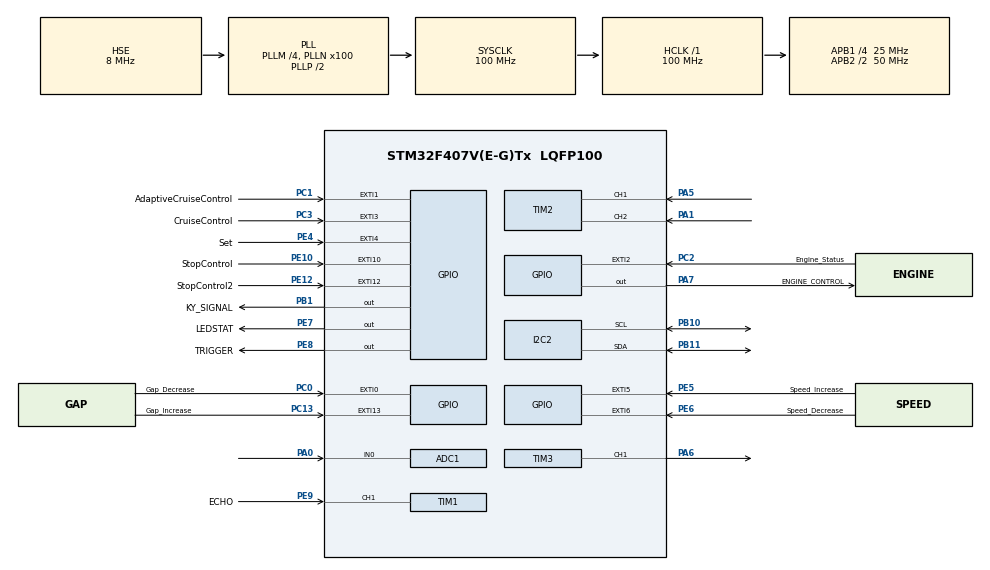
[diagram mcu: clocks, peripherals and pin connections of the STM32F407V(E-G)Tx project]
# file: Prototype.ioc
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ADC1.Channel-2\#ChannelRegularConversion=ADC_CHANNEL_0
ADC1.ContinuousConvMode=ENABLE
ADC1.DMAContinuousRequests=ENABLE
ADC1.NbrOfConversionFlag=1
ADC1.Rank-2\#ChannelRegularConversion=1
ADC1.SamplingTime-2\#ChannelRegularConversion=ADC_SAMPLETIME_480CYCLES
ADC1.ScanConvMode=DISABLE
ADC1.master=1
Dma.ADC1.0.Direction=DMA_PERIPH_TO_MEMORY
Dma.ADC1.0.FIFOMode=DMA_FIFOMODE_DISABLE
Dma.ADC1.0.Instance=DMA2_Stream0
Dma.ADC1.0.MemDataAlignment=DMA_MDATAALIGN_HALFWORD
Dma.ADC1.0.MemInc=DMA_MINC_ENABLE
Dma.ADC1.0.Mode=DMA_CIRCULAR
Dma.ADC1.0.PeriphDataAlignment=DMA_PDATAALIGN_HALFWORD
Dma.ADC1.0.PeriphInc=DMA_PINC_DISABLE
Dma.ADC1.0.Priority=DMA_PRIORITY_LOW
Dma.Request0=ADC1
Mcu.Family=STM32F4
Mcu.Name=STM32F407V(E-G)Tx
Mcu.Package=LQFP100
NVIC.DMA2_Stream0_IRQn=true\:0\:0\:false\:false\:true\:false\:true\:true
NVIC.EXTI0_IRQn=true\:1\:0\:true\:false\:true\:true\:true\:true
NVIC.EXTI15_10_IRQn=true\:1\:0\:true\:false\:true\:true\:true\:true
NVIC.EXTI1_IRQn=true\:1\:0\:true\:false\:true\:true\:true\:true
NVIC.EXTI2_IRQn=true\:1\:0\:true\:false\:true\:true\:true\:true
NVIC.EXTI3_IRQn=true\:1\:0\:true\:false\:true\:true\:true\:true
NVIC.EXTI4_IRQn=true\:1\:0\:true\:false\:true\:true\:true\:true
NVIC.EXTI9_5_IRQn=true\:1\:0\:true\:false\:true\:true\:true\:true
NVIC.PriorityGroup=NVIC_PRIORITYGROUP_4
NVIC.TIM1_CC_IRQn=true\:0\:0\:false\:false\:true\:true\:true\:true
NVIC.TIM4_IRQn=true\:0\:0\:true\:false\:true\:true\:true\:true
NVIC.TIM5_IRQn=true\:0\:0\:true\:false\:true\:true\:true\:true
NVIC.TIM6_DAC_IRQn=true\:2\:0\:true\:false\:true\:true\:true\:true
PA0-WKUP.Signal=ADCx_IN0
PA1.Signal=S_TIM2_CH2
PA13.Mode=Serial_Wire
PA13.Signal=SYS_JTMS-SWDIO
PA14.Mode=Serial_Wire
PA14.Signal=SYS_JTCK-SWCLK
PA5.Signal=S_TIM2_CH1_ETR
PA6.Signal=S_TIM3_CH1
PA7.GPIO_Label=ENGINE_CONTROL
PA7.GPIO_PuPd=GPIO_PULLDOWN
PA7.Signal=GPIO_Output
PB1.GPIO_Label=KY_SIGNAL
PB1.GPIO_PuPd=GPIO_PULLDOWN
PB1.Signal=GPIO_Output
PB10.GPIO_Pu=GPIO_PULLUP
PB10.Mode=I2C
PB10.Signal=I2C2_SCL
PB11.GPIO_Pu=GPIO_PULLUP
PB11.Mode=I2C
PB11.Signal=I2C2_SDA
PC0.GPIO_Label=Gap_Decrease
PC0.GPIO_ModeDefaultEXTI=GPIO_MODE_IT_FALLING
PC0.GPIO_PuPd=GPIO_PULLUP
PC0.Signal=GPXTI0
PC1.GPIO_Label=AdaptiveCruiseControl
PC1.GPIO_ModeDefaultEXTI=GPIO_MODE_IT_FALLING
PC1.GPIO_PuPd=GPIO_PULLUP
PC1.Signal=GPXTI1
PC13-ANTI_TAMP.GPIO_Label=Gap_Increase
PC13-ANTI_TAMP.GPIO_ModeDefaultEXTI=GPIO_MODE_IT_FALLING
PC13-ANTI_TAMP.GPIO_PuPd=GPIO_PULLUP
PC13-ANTI_TAMP.Signal=GPXTI13
PC2.GPIO_Label=Engine_Status
PC2.GPIO_ModeDefaultEXTI=GPIO_MODE_IT_FALLING
PC2.GPIO_PuPd=GPIO_PULLUP
PC2.Signal=GPXTI2
PC3.GPIO_Label=CruiseControl
PC3.GPIO_ModeDefaultEXTI=GPIO_MODE_IT_FALLING
PC3.GPIO_PuPd=GPIO_PULLUP
PC3.Signal=GPXTI3
PE10.GPIO_Label=StopControl
PE10.GPIO_ModeDefaultEXTI=GPIO_MODE_IT_FALLING
PE10.GPIO_PuPd=GPIO_PULLUP
PE10.Signal=GPXTI10
PE12.GPIO_Label=StopControl2
PE12.GPIO_ModeDefaultEXTI=GPIO_MODE_IT_FALLING
PE12.GPIO_PuPd=GPIO_PULLUP
PE12.Signal=GPXTI12
PE4.GPIO_Label=Set
PE4.GPIO_ModeDefaultEXTI=GPIO_MODE_IT_FALLING
PE4.GPIO_PuPd=GPIO_PULLUP
PE4.Signal=GPXTI4
PE5.GPIO_Label=Speed_Increase
PE5.GPIO_ModeDefaultEXTI=GPIO_MODE_IT_FALLING
PE5.GPIO_PuPd=GPIO_PULLUP
PE5.Signal=GPXTI5
PE6.GPIO_Label=Speed_Decrease
PE6.GPIO_ModeDefaultEXTI=GPIO_MODE_IT_FALLING
PE6.GPIO_PuPd=GPIO_PULLUP
PE6.Signal=GPXTI6
PE7.GPIO_Label=LEDSTAT
PE7.GPIO_PuPd=GPIO_PULLUP
PE7.Signal=GPIO_Output
PE8.GPIO_Label=TRIGGER
PE8.Signal=GPIO_Output
PE9.GPIO_Label=ECHO
PE9.Signal=S_TIM1_CH1
PH0-OSC_IN.Mode=HSE-External-Oscillator
PH0-OSC_IN.Signal=RCC_OSC_IN
PH1-OSC_OUT.Mode=HSE-External-Oscillator
PH1-OSC_OUT.Signal=RCC_OSC_OUT
ProjectManager.HeapSize=0x200
ProjectManager.StackSize=0x400
ProjectManager.TargetToolchain=STM32CubeIDE
RCC.48MHZClocksFreq_Value=50000000
RCC.AHBFreq_Value=100000000
RCC.APB1CLKDivider=RCC_HCLK_DIV4
RCC.APB1Freq_Value=25000000
RCC.APB1TimFreq_Value=50000000
RCC.APB2CLKDivider=RCC_HCLK_DIV2
RCC.APB2Freq_Value=50000000
RCC.APB2TimFreq_Value=100000000
RCC.CortexFreq_Value=100000000
RCC.HCLKFreq_Value=100000000
RCC.HSE_VALUE=8000000
RCC.HSI_VALUE=16000000
RCC.LSE_VALUE=32768
RCC.PLLM=4
RCC.PLLN=100
RCC.PLLSourceVirtual=RCC_PLLSOURCE_HSE
RCC.SYSCLKFreq_VALUE=100000000
RCC.SYSCLKSource=RCC_SYSCLKSOURCE_PLLCLK
RCC.VCOOutputFreq_Value=200000000
SH.ADCx_IN0.0=ADC1_IN0,IN0
SH.S_TIM1_CH1.0=TIM1_CH1,Input_Capture1_from_TI1
SH.S_TIM2_CH1_ETR.0=TIM2_CH1,Encoder_Interface
SH.S_TIM2_CH2.0=TIM2_CH2,Encoder_Interface
SH.S_TIM3_CH1.0=TIM3_CH1,PWM Generation1 CH1
TIM1.Channel-Input_Capture1_from_TI1=TIM_CHANNEL_1
TIM1.Period=65535-1
TIM1.Prescaler=100-1
TIM2.EncoderMode=TIM_ENCODERMODE_TI12
TIM3.Channel-PWM\ Generation1\ CH1=TIM_CHANNEL_1
TIM3.Period=1000-1
TIM4.Period=120-1
TIM4.Prescaler=50000-1
TIM5.Period=100-1
TIM5.Prescaler=50000-1
TIM6.Period=450-1
TIM6.Prescaler=50000-1
VP_TIM1_VS_ClockSourceINT.Mode=Internal
VP_TIM3_VS_ClockSourceINT.Mode=Internal
VP_TIM4_VS_ClockSourceINT.Mode=Internal
VP_TIM5_VS_ClockSourceINT.Mode=Internal
VP_TIM6_VS_ClockSourceINT.Mode=Enable_Timer
board=custom

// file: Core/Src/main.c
/* USER CODE BEGIN Header */
/**
  ******************************************************************************
  * @file           : main.c
  * @brief          : Main program body
  ******************************************************************************
  * @attention
  *
  * Copyright (c) 2023 STMicroelectronics.
  * All rights reserved.
  *
  * This software is licensed under terms that can be found in the LICENSE file
  * in the root directory of this software component.
  * If no LICENSE file comes with this software, it is provided AS-IS.
  *
  ******************************************************************************
  */
//PC13		Gap_Increase
//PC0		Gap_Decrease
//PE2		Engine_Status x
//PE3		Mode x
//PE4		Set
//PE5		Speed_Increase
//PE6		Speed_Decrease
//TIM1 SR04  PE9 Echo
//			 PE8 TRIG
//TIM2 ENCODER
//
//TIM3 PWM PA6
//		   PA7
//TIM4 0.12S INTERUPT
//TIM5 0.1S  INTERUPT
//ADC1 IN0 	 PA0
//I2C2 SCL
//	   SDA
//PB0 KY012
/* USER CODE END Header */
#include "main.h"

/* USER CODE BEGIN Includes */
#include "i2c-lcd.h"
#include "string.h"
#include "stdlib.h"
#include "stdio.h"
#include "math.h"
#include "HC_SR04.h"
#include "stdbool.h"
/* USER CODE END Includes */

/* USER CODE BEGIN PTD */
typedef struct {
	uint16_t Dset;
	uint16_t Vset;
	bool firstSet;
}controlValue;
/* USER CODE END PTD */

/* USER CODE BEGIN PD */
#define speedSetMax 250
#define speedSetMin 50
#define distanceSetMax 30
#define distanceSetMin 10
#define speedStep 10
#define distanceStep 5
#define DEBOUNCE_DELAY 1000
#define Kp 4.0
#define Ki 0.00011
#define Kd 1.55
#define max_crr_value  999
#define wheelPerimeter 20.420335
/* USER CODE END PD */

/* USER CODE BEGIN PM */
enum Cmnd
{
	UserControl =1 ,
	CruiseControl,
	AdaptiveCruiseControl
};
enum Cmnd ucmd = UserControl;
controlValue control = {10, 50, false};
const uint8_t ESTOP_DISTANCE = 5, SENSING_ZONE =50 , DECREASE_ZONE =5;
/* USER CODE END PM */

ADC_HandleTypeDef hadc1;
DMA_HandleTypeDef hdma_adc1;

I2C_HandleTypeDef hi2c2;

TIM_HandleTypeDef htim1;
TIM_HandleTypeDef htim2;
TIM_HandleTypeDef htim3;
TIM_HandleTypeDef htim4;
TIM_HandleTypeDef htim5;
TIM_HandleTypeDef htim6;

/* USER CODE BEGIN PV */
// BIẾN TOÀN CỤC C�? �?ỊNH.
uint32_t last_debounce_time = 0,value=0;
uint16_t engineStat = 0, speedSet=50,distanceSet=10,gas_val = 0;
uint16_t RPM,RTDistance,crr_value;
int16_t deltaRPM;
float  pid_value = 0;

// TẠM THỜI
int a, b=0,c;
/* USER CODE END PV */

void SystemClock_Config(void);
static void MX_GPIO_Init(void);
static void MX_DMA_Init(void);
static void MX_ADC1_Init(void);
static void MX_I2C2_Init(void);
static void MX_TIM1_Init(void);
static void MX_TIM2_Init(void);
static void MX_TIM3_Init(void);
static void MX_TIM4_Init(void);
static void MX_TIM5_Init(void);
static void MX_TIM6_Init(void);
/* USER CODE BEGIN PFP */
void debounceButton(GPIO_TypeDef* GPIOx,uint16_t GPIO_Pin, uint32_t *last_debounce_time);
void LCD_StartingScreen();
void display();
uint32_t convert_pid_to_crr(float pid_value);
float calculate_pid(float setpoint, float actual_value);
void cruiseControl( controlValue *control,uint16_t RPM );
void adaptiveCruiseControl(uint16_t RPM, uint16_t deltaRPM, uint16_t RTDistance, controlValue *control);
void userControl(uint8_t gas_val,uint16_t RPM);
/* USER CODE END PFP */

/* USER CODE BEGIN 0 */
uint32_t MAP(uint32_t au32_IN, uint32_t au32_INmin, uint32_t au32_INmax, uint32_t au32_OUTmin, uint32_t au32_OUTmax)
{
	return ((((au32_IN - au32_INmin)*(au32_OUTmax - au32_OUTmin))/(au32_INmax - au32_INmin)) + au32_OUTmin);
}

void HAL_ADC_ConvCpltCallback(ADC_HandleTypeDef* hadc)
{
	gas_val = MAP(value, 0, 4095, 0, 100); //gas_val = MAP(value, 1010, 3191, 0, 100);
}

uint32_t convert_pid_to_crr(float pid_value)
{

    float max_pid_value = 1500.0;
    // Chuyển đổi giá trị PID thành giá trị CRR bằng cách sử dụng tỷ lệ tương ứng
    crr_value = (uint32_t)( fabs(pid_value / max_pid_value * max_crr_value));

    // Giới hạn giá trị CRR trong phạm vi cho phép
    if (crr_value > max_crr_value) {
      return  crr_value = max_crr_value;
    } else if (crr_value < 0) {
        return crr_value = 0;
    }else   return crr_value;

}

float calculate_pid(float setpoint, float actual_value)
{
  static float current_error = 0, previous_error = 0;

  static float integral = 0, derivative = 0;
  // Tính lỗi hiện tại
  current_error = setpoint - actual_value;

  // Tính phần tích phân của lỗi
  integral += current_error;

  // Tính phần đạo hàm của lỗi
  derivative = current_error - previous_error;

  // Tính giá trị đi�?u khiển PID
  pid_value = Kp * current_error + Ki * integral + Kd * derivative;

  // Cập nhật lỗi trước đó
  previous_error = current_error;

  return pid_value;
}

void cruiseControl(controlValue *control,uint16_t RPM)
{
	if (control->firstSet == false)
	{
		control->Vset=RPM;
		speedSet = RPM;
		control->firstSet = true;
	}
	__HAL_TIM_SET_COMPARE(&htim3, TIM_CHANNEL_1, convert_pid_to_crr(calculate_pid(control->Vset,RPM)));
}

void adaptiveCruiseControl(uint16_t RPM, uint16_t deltaRPM, uint16_t RTDistance, controlValue *control)
{
	uint16_t v_Object;
	if (control->firstSet == false)
	{
		control->Vset=RPM;
		speedSet = RPM;
		control->firstSet = true;
	}
	if (RTDistance <= SENSING_ZONE)// step into the calculate zone
	{
        // Turn on calculate object speed
		HAL_TIM_Base_Start_IT(&htim4);
		if ( deltaRPM < 0 && fabs(deltaRPM) > RPM)
		{
			v_Object = 0;
		}else{
			v_Object = RPM + deltaRPM;
		}

		if (RTDistance >= ESTOP_DISTANCE + control->Dset + DECREASE_ZONE)               // run like CCS
		{
			__HAL_TIM_SET_COMPARE(&htim3, TIM_CHANNEL_1, convert_pid_to_crr(calculate_pid(control->Vset,RPM)));
		}
		else if (RTDistance <= ESTOP_DISTANCE) //  E-stop if to close
		{
			__HAL_TIM_SET_COMPARE(&htim3, TIM_CHANNEL_1,0);
			__HAL_TIM_SET_COMPARE(&htim3, TIM_CHANNEL_2,0);
			 ucmd = UserControl;
		}
		else if (RTDistance < ESTOP_DISTANCE + control->Dset + DECREASE_ZONE && RTDistance > ESTOP_DISTANCE ) //
		{ // sync speed with object
			__HAL_TIM_SET_COMPARE(&htim3, TIM_CHANNEL_1, convert_pid_to_crr(calculate_pid(v_Object,RPM)));

		}
	}
	else
	{
		HAL_TIM_Base_Stop_IT(&htim4);       // turn of calculate speed run like CCS
		__HAL_TIM_SET_COMPARE(&htim3, TIM_CHANNEL_1, convert_pid_to_crr(calculate_pid(control->Vset,RPM)));
	}
}

void debounceButton(GPIO_TypeDef* GPIOx,uint16_t GPIO_Pin, uint32_t *last_debounce_time)
{
	uint32_t current_time = HAL_GetTick();
	if (current_time - *last_debounce_time > DEBOUNCE_DELAY)
	{
		*last_debounce_time = current_time;
		while (HAL_GPIO_ReadPin(GPIOx, GPIO_Pin) == 0)
		{
			if ( HAL_GetTick()- *last_debounce_time >= DEBOUNCE_DELAY)
			{
				break;
			}
		}
	}
}

void LCD_StartingScreen()
{

	char welcome_str[] = "Welcome"; //7
	char system_str[] = "System turning on"; //17
	char loading_str[] = "Loading"; //7
	lcd_put_cur(0, 6);
	for (int i = 0; i < 7; i++)
	{
		lcd_send_data(welcome_str[i]);
		HAL_Delay(100);
	}
	HAL_Delay(1000);
	lcd_put_cur(1, 1);
	for (int i = 0; i < 17; i++)
	{
		lcd_send_data(system_str[i]);
		HAL_Delay(100);
	}
	HAL_Delay(500);
	for (int i = 0; i < 2; i++)
	{
		lcd_clear();
		for (int j = 1; j <= 3; j++)
		{
			lcd_put_cur(1, 4);
			if (i == 0)
			{
				for (int k = 0; k < 7; k++)
				{
                lcd_send_data(loading_str[k]);
                HAL_Delay(90);
				}
			}
			else
			{
				lcd_send_string("Loading");
			}
			for (int k = 0; k < j; k++)
			{
				lcd_send_data('.');
				HAL_Delay(70);
			}
			HAL_Delay(400);
		}
	}
	lcd_clear();
}

void display()
{
		char Buffer[4][20];
		if (ucmd == CruiseControl)
		{
			sprintf(Buffer[0],"%s%s%s","Mode :","CC   |EN:",(engineStat>0)?"ON":"OFF");
		}
		else if (ucmd == AdaptiveCruiseControl)
		{
			sprintf(Buffer[0],"%s%s%s","Mode :","ACC  |EN:",(engineStat>0)?"ON":"OFF");
		}
		else
		{
			sprintf(Buffer[0],"%s%s%s","Mode :","UC   |EN:",(engineStat>0)?"ON":"OFF");
		}
		sprintf(Buffer[1],"%s%d%s","Speed:",RPM," RPM");
		sprintf(Buffer[2],"%s%d%s%d","Vset :",speedSet," |Dis:", RTDistance);
		sprintf(Buffer[3],"%s%d%s","Dset :",distanceSet, "cm");
		lcd_clear();
		for(int i = 0 ; i < 4; i ++)
		{
			lcd_put_cur(i,0);
			lcd_send_string(Buffer[i]);
		}

}

void userControl(uint8_t gas_val,uint16_t RPM)
{
	uint16_t ccr_val;// xong b�? dòng này vào h
	ccr_val = (gas_val * 999) / 100;
	TIM3 ->CCR1 = ccr_val;
	if (RPM> 50)
		HAL_GPIO_WritePin(GPIOE, LEDSTAT_Pin,0);
    else
    	HAL_GPIO_WritePin(GPIOE, LEDSTAT_Pin,1);

}

void Cmd_Handle(void)
{
	switch (ucmd) {
		case 1:
			userControl(gas_val,RPM);
			break;
		case 2:
//      if (RPM> 50)
//      {
			cruiseControl(&control,RPM);
//      }else
//      {
//        ucmd = UserControl;
//      }
			break;
		case 3:
//          if (RPM> 50)
//      {
			adaptiveCruiseControl(RPM, deltaRPM, RTDistance,&control);
//      }else
//      {
//        ucmd = UserControl;
//      }
			break;

	}
}

void warningDis(uint16_t RTDistance)
{
	static uint32_t lastime = 0;
	if (RTDistance <= ESTOP_DISTANCE)
	{
		if (HAL_GetTick() - lastime >= RTDistance *10)
		{
			HAL_GPIO_TogglePin(GPIOB, GPIO_PIN_1);
			lastime = HAL_GetTick();
		}
	}else if (RTDistance > ESTOP_DISTANCE) {
		HAL_GPIO_WritePin(GPIOB, GPIO_PIN_1, GPIO_PIN_RESET);
		lastime = HAL_GetTick();
	}
}

void HAL_GPIO_EXTI_Callback(uint16_t GPIO_Pin)
{
	switch (GPIO_Pin)
	{
		case CruiseControl_Pin :
				debounceButton(GPIOC,GPIO_Pin, &last_debounce_time);
				ucmd = (ucmd != 2 ) ? 2 :  1;
				break;
		case AdaptiveCruiseControl_Pin:
				debounceButton(GPIOC,GPIO_Pin, &last_debounce_time);
				ucmd = (ucmd != 3 ) ? 3 :  1;
				break;
		case Engine_Status_Pin:
				debounceButton(GPIOC,GPIO_Pin, &last_debounce_time);
				engineStat = engineStat ^ 1;
				HAL_GPIO_TogglePin(GPIOA, ENGINE_CONTROL_Pin);
				break;
		case Set_Pin:
				debounceButton(GPIOE,GPIO_Pin, &last_debounce_time);
				control.Dset = distanceSet ;
				control.Vset = speedSet ;
				if(ucmd ==2)
				{
					cruiseControl(&control, RPM);
				}else if(ucmd == 3)
				{
					adaptiveCruiseControl(RPM, deltaRPM, RTDistance, &control);
				}
				break;
		case Speed_Increase_Pin:
				debounceButton(GPIOE,GPIO_Pin, &last_debounce_time);
				speedSet += speedStep;
				if(speedSet >= speedSetMax)
					speedSet = speedSetMax;
				break;
		case Speed_Decrease_Pin:
				debounceButton(GPIOE,GPIO_Pin, &last_debounce_time);
				if(speedSet > speedSetMin)
					speedSet -= speedStep;
				break;
		case Gap_Increase_Pin:
				debounceButton(GPIOC,GPIO_Pin, &last_debounce_time);
				distanceSet += distanceStep;
				if(distanceSet >= distanceSetMax)
					distanceSet = distanceSetMax;
				break;
		case Gap_Decrease_Pin:
				debounceButton(GPIOC,GPIO_Pin, &last_debounce_time);
				if(distanceSet > distanceSetMin)
					distanceSet -= distanceStep;
				break;
		case StopControl_Pin:
				debounceButton(GPIOE,GPIO_Pin, &last_debounce_time);
				ucmd = UserControl;
				break;
		case StopControl2_Pin:
				debounceButton(GPIOE,GPIO_Pin, &last_debounce_time);
				ucmd = UserControl;
				break;
	}
}

void HAL_TIM_PeriodElapsedCallback(TIM_HandleTypeDef *htim)
{

	if		(htim == &htim5)
	{
		static   uint32_t Last_Encoder = 0 ;
		volatile uint32_t Realtime_Encoder = __HAL_TIM_GET_COUNTER(&htim2);

		int32_t Delta_Encoder = Realtime_Encoder - Last_Encoder;
		if 		(Delta_Encoder < -(0xffffffff / 2)) // Xử lý trư�?ng hợp quay ngược
			{
				Delta_Encoder += 0xffffffff;
			}
		else if (Delta_Encoder > (0xffffffff / 2)) // Xử lý trư�?ng hợp quay xuôi
			{
				Delta_Encoder -= 0xffffffff;
			}
		Last_Encoder = Realtime_Encoder;
		RPM = fabs(Delta_Encoder / 1320.0 * 600);
		RTDistance = HCSR04_GetDis();
		a= engineStat;
		b=ucmd;
		c=RPM;
	}
	else if ( htim == &htim4)
	{	float deltaSpeed;
		static uint16_t lasRTDistance = 0;
		int16_t deltaDistance;
		deltaDistance = RTDistance - lasRTDistance;
		deltaSpeed    = deltaDistance / 0.12; // speed() cm/s every 0.12s has interupt
		deltaRPM =((deltaSpeed * 60)/wheelPerimeter);
		lasRTDistance = RTDistance;
	}
	else if (htim == &htim6)
	{
		display();
	}
}
/* USER CODE END 0 */

int main(void)
{

  /* MCU Configuration--------------------------------------------------------*/

  /* Reset of all peripherals, Initializes the Flash interface and the Systick. */
  HAL_Init();

  /* Configure the system clock */
  SystemClock_Config();

  /* Initialize all configured peripherals */
  MX_GPIO_Init();
  MX_DMA_Init();
  MX_ADC1_Init();
  MX_I2C2_Init();
  MX_TIM1_Init();
  MX_TIM2_Init();
  MX_TIM3_Init();
  MX_TIM4_Init();
  MX_TIM5_Init();
  MX_TIM6_Init();
  /* USER CODE BEGIN 2 */
  HAL_TIM_IC_Start_IT(&htim1, TIM_CHANNEL_1);
  HAL_TIM_Encoder_Start(&htim2, TIM_CHANNEL_1);
  HAL_TIM_Encoder_Start(&htim2, TIM_CHANNEL_2);
  HAL_TIM_Base_Start_IT(&htim5);
  HAL_TIM_Base_Stop_IT(&htim6);

  HAL_TIM_Base_Stop_IT(&htim4);
  HAL_TIM_PWM_Start(&htim3, TIM_CHANNEL_1);
  HAL_TIM_PWM_Start(&htim3, TIM_CHANNEL_2);
  HAL_ADC_Start_DMA(&hadc1,&value,1);
  lcd_init();
  LCD_StartingScreen();
  HAL_TIM_Base_Start_IT(&htim6);

//  lcd_put_cur(0, 0);
//  lcd_send_string("11");
//  lcd_put_cur(1, 0);
//  lcd_send_string("22");
//  lcd_put_cur(2, 0);
//  lcd_send_string("33");
//  lcd_put_cur(3, 0);
//  lcd_send_string("44");
   //HAL_GPIO_WritePin(GPIOB, GPIO_PIN_1, 0);

  /* USER CODE END 2 */

  /* Infinite loop */
  /* USER CODE BEGIN WHILE */

  while (1)
  {

	  //HAL_GPIO_WritePin(GPIOE, GPIO_PIN_7, 1);
	  Cmd_Handle();
	  warningDis(RTDistance);
	 // adaptiveCruiseControl(RPM, deltaRPM, RTDistance, &control);

    /* USER CODE END WHILE */

  }
}

void SystemClock_Config(void)
{
  RCC_OscInitTypeDef RCC_OscInitStruct = {0};
  RCC_ClkInitTypeDef RCC_ClkInitStruct = {0};

  /** Configure the main internal regulator output voltage
  */
  __HAL_RCC_PWR_CLK_ENABLE();
  __HAL_PWR_VOLTAGESCALING_CONFIG(PWR_REGULATOR_VOLTAGE_SCALE1);

  /** Initializes the RCC Oscillators according to the specified parameters
  * in the RCC_OscInitTypeDef structure.
  */
  RCC_OscInitStruct.OscillatorType = RCC_OSCILLATORTYPE_HSE;
  RCC_OscInitStruct.HSEState = RCC_HSE_ON;
  RCC_OscInitStruct.PLL.PLLState = RCC_PLL_ON;
  RCC_OscInitStruct.PLL.PLLSource = RCC_PLLSOURCE_HSE;
  RCC_OscInitStruct.PLL.PLLM = 4;
  RCC_OscInitStruct.PLL.PLLN = 100;
  RCC_OscInitStruct.PLL.PLLP = RCC_PLLP_DIV2;
  RCC_OscInitStruct.PLL.PLLQ = 4;
  if (HAL_RCC_OscConfig(&RCC_OscInitStruct) != HAL_OK)
  {
    Error_Handler();
  }

  /** Initializes the CPU, AHB and APB buses clocks
  */
  RCC_ClkInitStruct.ClockType = RCC_CLOCKTYPE_HCLK|RCC_CLOCKTYPE_SYSCLK
                              |RCC_CLOCKTYPE_PCLK1|RCC_CLOCKTYPE_PCLK2;
  RCC_ClkInitStruct.SYSCLKSource = RCC_SYSCLKSOURCE_PLLCLK;
  RCC_ClkInitStruct.AHBCLKDivider = RCC_SYSCLK_DIV1;
  RCC_ClkInitStruct.APB1CLKDivider = RCC_HCLK_DIV4;
  RCC_ClkInitStruct.APB2CLKDivider = RCC_HCLK_DIV2;

  if (HAL_RCC_ClockConfig(&RCC_ClkInitStruct, FLASH_LATENCY_3) != HAL_OK)
  {
    Error_Handler();
  }
}

static void MX_ADC1_Init(void)
{

  ADC_ChannelConfTypeDef sConfig = {0};

  /** Configure the global features of the ADC (Clock, Resolution, Data Alignment and number of conversion)
  */
  hadc1.Instance = ADC1;
  hadc1.Init.ClockPrescaler = ADC_CLOCK_SYNC_PCLK_DIV2;
  hadc1.Init.Resolution = ADC_RESOLUTION_12B;
  hadc1.Init.ScanConvMode = DISABLE;
  hadc1.Init.ContinuousConvMode = ENABLE;
  hadc1.Init.DiscontinuousConvMode = DISABLE;
  hadc1.Init.ExternalTrigConvEdge = ADC_EXTERNALTRIGCONVEDGE_NONE;
  hadc1.Init.ExternalTrigConv = ADC_SOFTWARE_START;
  hadc1.Init.DataAlign = ADC_DATAALIGN_RIGHT;
  hadc1.Init.NbrOfConversion = 1;
  hadc1.Init.DMAContinuousRequests = ENABLE;
  hadc1.Init.EOCSelection = ADC_EOC_SINGLE_CONV;
  if (HAL_ADC_Init(&hadc1) != HAL_OK)
  {
    Error_Handler();
  }

  /** Configure for the selected ADC regular channel its corresponding rank in the sequencer and its sample time.
  */
  sConfig.Channel = ADC_CHANNEL_0;
  sConfig.Rank = 1;
  sConfig.SamplingTime = ADC_SAMPLETIME_480CYCLES;
  if (HAL_ADC_ConfigChannel(&hadc1, &sConfig) != HAL_OK)
  {
    Error_Handler();
  }

}

static void MX_I2C2_Init(void)
{

  hi2c2.Instance = I2C2;
  hi2c2.Init.ClockSpeed = 100000;
  hi2c2.Init.DutyCycle = I2C_DUTYCYCLE_2;
  hi2c2.Init.OwnAddress1 = 0;
  hi2c2.Init.AddressingMode = I2C_ADDRESSINGMODE_7BIT;
  hi2c2.Init.DualAddressMode = I2C_DUALADDRESS_DISABLE;
  hi2c2.Init.OwnAddress2 = 0;
  hi2c2.Init.GeneralCallMode = I2C_GENERALCALL_DISABLE;
  hi2c2.Init.NoStretchMode = I2C_NOSTRETCH_DISABLE;
  if (HAL_I2C_Init(&hi2c2) != HAL_OK)
  {
    Error_Handler();
  }

}

static void MX_TIM1_Init(void)
{

  TIM_ClockConfigTypeDef sClockSourceConfig = {0};
  TIM_MasterConfigTypeDef sMasterConfig = {0};
  TIM_IC_InitTypeDef sConfigIC = {0};

  htim1.Instance = TIM1;
  htim1.Init.Prescaler = 100-1;
  htim1.Init.CounterMode = TIM_COUNTERMODE_UP;
  htim1.Init.Period = 65535-1;
  htim1.Init.ClockDivision = TIM_CLOCKDIVISION_DIV1;
  htim1.Init.RepetitionCounter = 0;
  htim1.Init.AutoReloadPreload = TIM_AUTORELOAD_PRELOAD_DISABLE;
  if (HAL_TIM_Base_Init(&htim1) != HAL_OK)
  {
    Error_Handler();
  }
  sClockSourceConfig.ClockSource = TIM_CLOCKSOURCE_INTERNAL;
  if (HAL_TIM_ConfigClockSource(&htim1, &sClockSourceConfig) != HAL_OK)
  {
    Error_Handler();
  }
  if (HAL_TIM_IC_Init(&htim1) != HAL_OK)
  {
    Error_Handler();
  }
  sMasterConfig.MasterOutputTrigger = TIM_TRGO_RESET;
  sMasterConfig.MasterSlaveMode = TIM_MASTERSLAVEMODE_DISABLE;
  if (HAL_TIMEx_MasterConfigSynchronization(&htim1, &sMasterConfig) != HAL_OK)
  {
    Error_Handler();
  }
  sConfigIC.ICPolarity = TIM_INPUTCHANNELPOLARITY_RISING;
  sConfigIC.ICSelection = TIM_ICSELECTION_DIRECTTI;
  sConfigIC.ICPrescaler = TIM_ICPSC_DIV1;
  sConfigIC.ICFilter = 0;
  if (HAL_TIM_IC_ConfigChannel(&htim1, &sConfigIC, TIM_CHANNEL_1) != HAL_OK)
  {
    Error_Handler();
  }

}

static void MX_TIM2_Init(void)
{

  TIM_Encoder_InitTypeDef sConfig = {0};
  TIM_MasterConfigTypeDef sMasterConfig = {0};

  htim2.Instance = TIM2;
  htim2.Init.Prescaler = 0;
  htim2.Init.CounterMode = TIM_COUNTERMODE_UP;
  htim2.Init.Period = 4294967295;
  htim2.Init.ClockDivision = TIM_CLOCKDIVISION_DIV1;
  htim2.Init.AutoReloadPreload = TIM_AUTORELOAD_PRELOAD_DISABLE;
  sConfig.EncoderMode = TIM_ENCODERMODE_TI12;
  sConfig.IC1Polarity = TIM_ICPOLARITY_RISING;
  sConfig.IC1Selection = TIM_ICSELECTION_DIRECTTI;
  sConfig.IC1Prescaler = TIM_ICPSC_DIV1;
  sConfig.IC1Filter = 0;
  sConfig.IC2Polarity = TIM_ICPOLARITY_RISING;
  sConfig.IC2Selection = TIM_ICSELECTION_DIRECTTI;
  sConfig.IC2Prescaler = TIM_ICPSC_DIV1;
  sConfig.IC2Filter = 0;
  if (HAL_TIM_Encoder_Init(&htim2, &sConfig) != HAL_OK)
  {
    Error_Handler();
  }
  sMasterConfig.MasterOutputTrigger = TIM_TRGO_RESET;
  sMasterConfig.MasterSlaveMode = TIM_MASTERSLAVEMODE_DISABLE;
  if (HAL_TIMEx_MasterConfigSynchronization(&htim2, &sMasterConfig) != HAL_OK)
  {
    Error_Handler();
  }

}

static void MX_TIM3_Init(void)
{

  TIM_ClockConfigTypeDef sClockSourceConfig = {0};
  TIM_MasterConfigTypeDef sMasterConfig = {0};
  TIM_OC_InitTypeDef sConfigOC = {0};

  htim3.Instance = TIM3;
  htim3.Init.Prescaler = 0;
  htim3.Init.CounterMode = TIM_COUNTERMODE_UP;
  htim3.Init.Period = 1000-1;
  htim3.Init.ClockDivision = TIM_CLOCKDIVISION_DIV1;
  htim3.Init.AutoReloadPreload = TIM_AUTORELOAD_PRELOAD_DISABLE;
  if (HAL_TIM_Base_Init(&htim3) != HAL_OK)
  {
    Error_Handler();
  }
  sClockSourceConfig.ClockSource = TIM_CLOCKSOURCE_INTERNAL;
  if (HAL_TIM_ConfigClockSource(&htim3, &sClockSourceConfig) != HAL_OK)
  {
    Error_Handler();
  }
  if (HAL_TIM_PWM_Init(&htim3) != HAL_OK)
  {
    Error_Handler();
  }
  sMasterConfig.MasterOutputTrigger = TIM_TRGO_RESET;
  sMasterConfig.MasterSlaveMode = TIM_MASTERSLAVEMODE_DISABLE;
  if (HAL_TIMEx_MasterConfigSynchronization(&htim3, &sMasterConfig) != HAL_OK)
  {
    Error_Handler();
  }
  sConfigOC.OCMode = TIM_OCMODE_PWM1;
  sConfigOC.Pulse = 0;
  sConfigOC.OCPolarity = TIM_OCPOLARITY_HIGH;
  sConfigOC.OCFastMode = TIM_OCFAST_DISABLE;
  if (HAL_TIM_PWM_ConfigChannel(&htim3, &sConfigOC, TIM_CHANNEL_1) != HAL_OK)
  {
    Error_Handler();
  }
  HAL_TIM_MspPostInit(&htim3);

}

static void MX_TIM4_Init(void)
{

  TIM_ClockConfigTypeDef sClockSourceConfig = {0};
  TIM_MasterConfigTypeDef sMasterConfig = {0};

  htim4.Instance = TIM4;
  htim4.Init.Prescaler = 50000-1;
  htim4.Init.CounterMode = TIM_COUNTERMODE_UP;
  htim4.Init.Period = 120-1;
  htim4.Init.ClockDivision = TIM_CLOCKDIVISION_DIV1;
  htim4.Init.AutoReloadPreload = TIM_AUTORELOAD_PRELOAD_DISABLE;
  if (HAL_TIM_Base_Init(&htim4) != HAL_OK)
  {
    Error_Handler();
  }
  sClockSourceConfig.ClockSource = TIM_CLOCKSOURCE_INTERNAL;
  if (HAL_TIM_ConfigClockSource(&htim4, &sClockSourceConfig) != HAL_OK)
  {
    Error_Handler();
  }
  sMasterConfig.MasterOutputTrigger = TIM_TRGO_RESET;
  sMasterConfig.MasterSlaveMode = TIM_MASTERSLAVEMODE_DISABLE;
  if (HAL_TIMEx_MasterConfigSynchronization(&htim4, &sMasterConfig) != HAL_OK)
  {
    Error_Handler();
  }

}

static void MX_TIM5_Init(void)
{

  TIM_ClockConfigTypeDef sClockSourceConfig = {0};
  TIM_MasterConfigTypeDef sMasterConfig = {0};

  htim5.Instance = TIM5;
  htim5.Init.Prescaler = 50000-1;
  htim5.Init.CounterMode = TIM_COUNTERMODE_UP;
  htim5.Init.Period = 100-1;
  htim5.Init.ClockDivision = TIM_CLOCKDIVISION_DIV1;
  htim5.Init.AutoReloadPreload = TIM_AUTORELOAD_PRELOAD_DISABLE;
  if (HAL_TIM_Base_Init(&htim5) != HAL_OK)
  {
    Error_Handler();
  }
  sClockSourceConfig.ClockSource = TIM_CLOCKSOURCE_INTERNAL;
  if (HAL_TIM_ConfigClockSource(&htim5, &sClockSourceConfig) != HAL_OK)
  {
    Error_Handler();
  }
  sMasterConfig.MasterOutputTrigger = TIM_TRGO_RESET;
  sMasterConfig.MasterSlaveMode = TIM_MASTERSLAVEMODE_DISABLE;
  if (HAL_TIMEx_MasterConfigSynchronization(&htim5, &sMasterConfig) != HAL_OK)
  {
    Error_Handler();
  }

}

static void MX_TIM6_Init(void)
{

  TIM_MasterConfigTypeDef sMasterConfig = {0};

  htim6.Instance = TIM6;
  htim6.Init.Prescaler = 50000-1;
  htim6.Init.CounterMode = TIM_COUNTERMODE_UP;
  htim6.Init.Period = 450-1;
  htim6.Init.AutoReloadPreload = TIM_AUTORELOAD_PRELOAD_DISABLE;
  if (HAL_TIM_Base_Init(&htim6) != HAL_OK)
  {
    Error_Handler();
  }
  sMasterConfig.MasterOutputTrigger = TIM_TRGO_RESET;
  sMasterConfig.MasterSlaveMode = TIM_MASTERSLAVEMODE_DISABLE;
  if (HAL_TIMEx_MasterConfigSynchronization(&htim6, &sMasterConfig) != HAL_OK)
  {
    Error_Handler();
  }

}

static void MX_DMA_Init(void)
{

  /* DMA controller clock enable */
  __HAL_RCC_DMA2_CLK_ENABLE();

  /* DMA interrupt init */
  /* DMA2_Stream0_IRQn interrupt configuration */
  HAL_NVIC_SetPriority(DMA2_Stream0_IRQn, 0, 0);
  HAL_NVIC_EnableIRQ(DMA2_Stream0_IRQn);

}

static void MX_GPIO_Init(void)
{
  GPIO_InitTypeDef GPIO_InitStruct = {0};

  /* GPIO Ports Clock Enable */
  __HAL_RCC_GPIOE_CLK_ENABLE();
  __HAL_RCC_GPIOC_CLK_ENABLE();
  __HAL_RCC_GPIOH_CLK_ENABLE();
  __HAL_RCC_GPIOA_CLK_ENABLE();
  __HAL_RCC_GPIOB_CLK_ENABLE();

  /*Configure GPIO pin Output Level */
  HAL_GPIO_WritePin(ENGINE_CONTROL_GPIO_Port, ENGINE_CONTROL_Pin, GPIO_PIN_RESET);

  /*Configure GPIO pin Output Level */
  HAL_GPIO_WritePin(KY_SIGNAL_GPIO_Port, KY_SIGNAL_Pin, GPIO_PIN_RESET);

  /*Configure GPIO pin Output Level */
  HAL_GPIO_WritePin(GPIOE, LEDSTAT_Pin|TRIGGER_Pin, GPIO_PIN_RESET);

  /*Configure GPIO pins : Set_Pin Speed_Increase_Pin Speed_Decrease_Pin StopControl_Pin
                           StopControl2_Pin */
  GPIO_InitStruct.Pin = Set_Pin|Speed_Increase_Pin|Speed_Decrease_Pin|StopControl_Pin
                          |StopControl2_Pin;
  GPIO_InitStruct.Mode = GPIO_MODE_IT_FALLING;
  GPIO_InitStruct.Pull = GPIO_PULLUP;
  HAL_GPIO_Init(GPIOE, &GPIO_InitStruct);

  /*Configure GPIO pins : Gap_Increase_Pin Gap_Decrease_Pin AdaptiveCruiseControl_Pin Engine_Status_Pin
                           CruiseControl_Pin */
  GPIO_InitStruct.Pin = Gap_Increase_Pin|Gap_Decrease_Pin|AdaptiveCruiseControl_Pin|Engine_Status_Pin
                          |CruiseControl_Pin;
  GPIO_InitStruct.Mode = GPIO_MODE_IT_FALLING;
  GPIO_InitStruct.Pull = GPIO_PULLUP;
  HAL_GPIO_Init(GPIOC, &GPIO_InitStruct);

  /*Configure GPIO pin : ENGINE_CONTROL_Pin */
  GPIO_InitStruct.Pin = ENGINE_CONTROL_Pin;
  GPIO_InitStruct.Mode = GPIO_MODE_OUTPUT_PP;
  GPIO_InitStruct.Pull = GPIO_PULLDOWN;
  GPIO_InitStruct.Speed = GPIO_SPEED_FREQ_LOW;
  HAL_GPIO_Init(ENGINE_CONTROL_GPIO_Port, &GPIO_InitStruct);

  /*Configure GPIO pin : KY_SIGNAL_Pin */
  GPIO_InitStruct.Pin = KY_SIGNAL_Pin;
  GPIO_InitStruct.Mode = GPIO_MODE_OUTPUT_PP;
  GPIO_InitStruct.Pull = GPIO_PULLDOWN;
  GPIO_InitStruct.Speed = GPIO_SPEED_FREQ_LOW;
  HAL_GPIO_Init(KY_SIGNAL_GPIO_Port, &GPIO_InitStruct);

  /*Configure GPIO pin : LEDSTAT_Pin */
  GPIO_InitStruct.Pin = LEDSTAT_Pin;
  GPIO_InitStruct.Mode = GPIO_MODE_OUTPUT_PP;
  GPIO_InitStruct.Pull = GPIO_PULLUP;
  GPIO_InitStruct.Speed = GPIO_SPEED_FREQ_LOW;
  HAL_GPIO_Init(LEDSTAT_GPIO_Port, &GPIO_InitStruct);

  /*Configure GPIO pin : TRIGGER_Pin */
  GPIO_InitStruct.Pin = TRIGGER_Pin;
  GPIO_InitStruct.Mode = GPIO_MODE_OUTPUT_PP;
  GPIO_InitStruct.Pull = GPIO_NOPULL;
  GPIO_InitStruct.Speed = GPIO_SPEED_FREQ_LOW;
  HAL_GPIO_Init(TRIGGER_GPIO_Port, &GPIO_InitStruct);

  /* EXTI interrupt init*/
  HAL_NVIC_SetPriority(EXTI0_IRQn, 1, 0);
  HAL_NVIC_EnableIRQ(EXTI0_IRQn);

  HAL_NVIC_SetPriority(EXTI1_IRQn, 1, 0);
  HAL_NVIC_EnableIRQ(EXTI1_IRQn);

  HAL_NVIC_SetPriority(EXTI2_IRQn, 1, 0);
  HAL_NVIC_EnableIRQ(EXTI2_IRQn);

  HAL_NVIC_SetPriority(EXTI3_IRQn, 1, 0);
  HAL_NVIC_EnableIRQ(EXTI3_IRQn);

  HAL_NVIC_SetPriority(EXTI4_IRQn, 1, 0);
  HAL_NVIC_EnableIRQ(EXTI4_IRQn);

  HAL_NVIC_SetPriority(EXTI9_5_IRQn, 1, 0);
  HAL_NVIC_EnableIRQ(EXTI9_5_IRQn);

  HAL_NVIC_SetPriority(EXTI15_10_IRQn, 1, 0);
  HAL_NVIC_EnableIRQ(EXTI15_10_IRQn);

}

void Error_Handler(void)
{
  __disable_irq();
  while (1)
  {
  }
}
